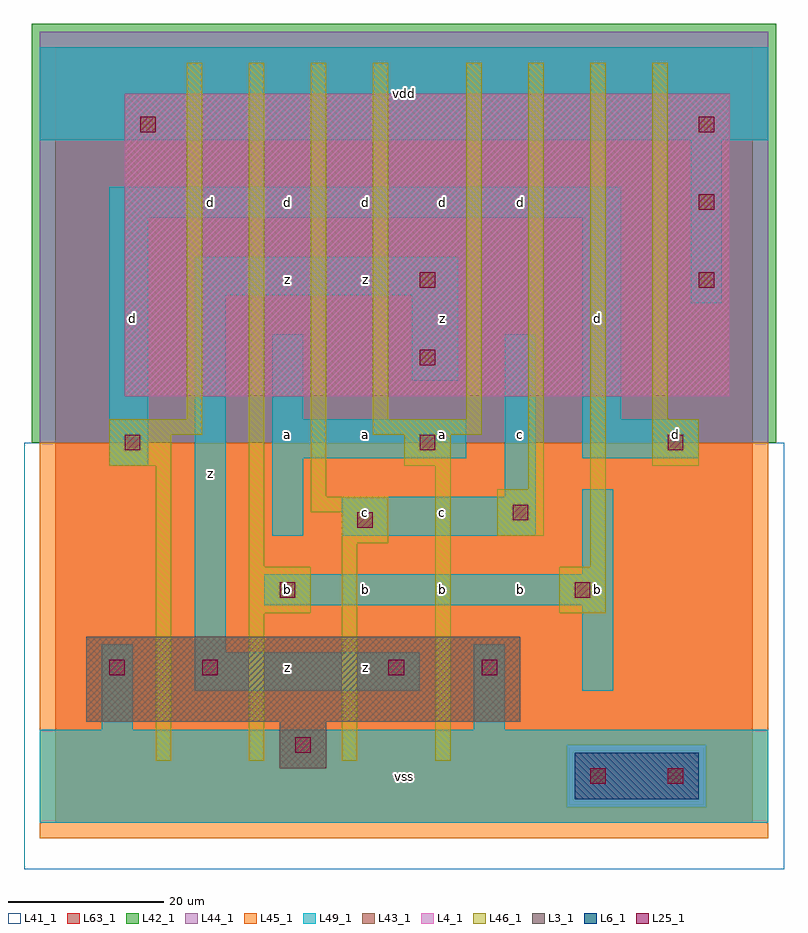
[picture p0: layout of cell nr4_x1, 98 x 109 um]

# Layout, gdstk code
import gdstk
lib = gdstk.Library(unit=1e-6, precision=1e-09)
def R(c, l, rs):  # rectangles x0, y0, x1, y1
    for r in rs: c.add(gdstk.rectangle(r[:2], r[2:], *l))
def A(c, l, x, y, w, h, nx, ny, dx, dy):  # array of equal rectangles
    R(c, l, [(x+i*dx, y+j*dy, x+i*dx+w, y+j*dy+h) for i in range(nx) for j in range(ny)])
L3_1 = (3, 1)
L4_1 = (4, 1)
L6_1 = (6, 1)
L25_1 = (25, 1)
L41_1 = (41, 1)
L42_1 = (42, 1)
L43_1 = (43, 1)
L44_1 = (44, 1)
L45_1 = (45, 1)
L46_1 = (46, 1)
L49_1 = (49, 1)
L63_1 = (63, 1)

nr4_x1 = lib.new_cell('nr4_x1')
R(nr4_x1, L3_1, [(29,7,35,13), (4,13,60,24)])
R(nr4_x1, L4_1, [(9,55,87,94)])
R(nr4_x1, L6_1, [(67,3,83,9)])
A(nr4_x1, L25_1, 83, 69, 2, 2, 1, 3, 0, 10)
R(nr4_x1, L25_1, [(69,5,71,7), (79,5,81,7), (31,9,33,11), (7,19,9,21), (19,19,21,21), (43,19,45,21), (55,19,57,21), (29,29,31,31), (67,29,69,31), (39,38,41,40), (59,39,61,41), (9,48,11,50), (47,48,49,50), (79,48,81,50), (47,59,49,61), (47,69,49,71), (11,89,13,91)])
R(nr4_x1, L41_1, [(-4,-6,94,49), (-3,-3,93,49)])
R(nr4_x1, L42_1, [(-3,49,93,103)])
R(nr4_x1, L43_1, [(67,3,83,9), (29,7,35,13), (4,13,60,24), (9,55,87,94)])
R(nr4_x1, L44_1, [(66,2,84,10), (-2,49,92,102)])
R(nr4_x1, L45_1, [(-2,-2,92,2), (-2,2,66,10), (84,2,92,10), (-2,10,92,49)])
R(nr4_x1, L46_1, [(13,8,15,46), (25,8,27,27), (37,8,39,36), (49,8,51,46), (25,27,33,33), (65,27,71,33), (25,33,27,98), (69,33,71,98), (37,36,43,40), (57,37,63,43), (33,40,43,42), (33,42,35,98), (61,43,63,98), (7,46,15,50), (45,46,51,50), (77,46,83,52), (7,50,19,52), (41,50,55,52), (17,52,19,98), (41,52,43,98), (53,52,55,98), (77,52,79,98)])
R(nr4_x1, L49_1, [(-2,0,92,12), (6,12,10,23), (54,12,58,23), (18,17,47,22), (68,17,72,28), (18,22,22,68), (27,28,72,32), (68,32,72,43), (28,37,32,47), (37,37,62,42), (58,42,62,63), (7,46,12,78), (28,47,53,52), (68,47,83,52), (28,52,32,63), (68,52,73,78), (46,57,52,68), (82,67,86,88), (18,68,52,73), (7,78,73,82), (-2,88,92,100)])
R(nr4_x1, L63_1, [(0,0,90,100)])
nr4_x1.add(gdstk.Label('d', (10,65), layer=49, texttype=1))
nr4_x1.add(gdstk.Label('d', (10,65), layer=49, texttype=1))
nr4_x1.add(gdstk.Label('z', (30,20), layer=49, texttype=1))
nr4_x1.add(gdstk.Label('z', (30,20), layer=49, texttype=1))
nr4_x1.add(gdstk.Label('b', (30,30), layer=49, texttype=1))
nr4_x1.add(gdstk.Label('b', (30,30), layer=49, texttype=1))
nr4_x1.add(gdstk.Label('z', (20,45), layer=49, texttype=1))
nr4_x1.add(gdstk.Label('z', (20,45), layer=49, texttype=1))
nr4_x1.add(gdstk.Label('a', (30,50), layer=49, texttype=1))
nr4_x1.add(gdstk.Label('a', (30,50), layer=49, texttype=1))
nr4_x1.add(gdstk.Label('z', (30,70), layer=49, texttype=1))
nr4_x1.add(gdstk.Label('z', (30,70), layer=49, texttype=1))
nr4_x1.add(gdstk.Label('d', (30,80), layer=49, texttype=1))
nr4_x1.add(gdstk.Label('d', (30,80), layer=49, texttype=1))
nr4_x1.add(gdstk.Label('d', (20,80), layer=49, texttype=1))
nr4_x1.add(gdstk.Label('d', (20,80), layer=49, texttype=1))
nr4_x1.add(gdstk.Label('vss', (45,6), layer=49, texttype=1))
nr4_x1.add(gdstk.Label('vss', (45,6), layer=49, texttype=1))
nr4_x1.add(gdstk.Label('z', (40,20), layer=49, texttype=1))
nr4_x1.add(gdstk.Label('z', (40,20), layer=49, texttype=1))
nr4_x1.add(gdstk.Label('b', (50,30), layer=49, texttype=1))
nr4_x1.add(gdstk.Label('b', (40,30), layer=49, texttype=1))
nr4_x1.add(gdstk.Label('b', (40,30), layer=49, texttype=1))
nr4_x1.add(gdstk.Label('b', (50,30), layer=49, texttype=1))
nr4_x1.add(gdstk.Label('c', (50,40), layer=49, texttype=1))
nr4_x1.add(gdstk.Label('c', (40,40), layer=49, texttype=1))
nr4_x1.add(gdstk.Label('c', (40,40), layer=49, texttype=1))
nr4_x1.add(gdstk.Label('c', (50,40), layer=49, texttype=1))
nr4_x1.add(gdstk.Label('a', (50,50), layer=49, texttype=1))
nr4_x1.add(gdstk.Label('a', (40,50), layer=49, texttype=1))
nr4_x1.add(gdstk.Label('a', (50,50), layer=49, texttype=1))
nr4_x1.add(gdstk.Label('a', (40,50), layer=49, texttype=1))
nr4_x1.add(gdstk.Label('z', (50,65), layer=49, texttype=1))
nr4_x1.add(gdstk.Label('z', (40,70), layer=49, texttype=1))
nr4_x1.add(gdstk.Label('z', (40,70), layer=49, texttype=1))
nr4_x1.add(gdstk.Label('z', (50,65), layer=49, texttype=1))
nr4_x1.add(gdstk.Label('d', (50,80), layer=49, texttype=1))
nr4_x1.add(gdstk.Label('d', (40,80), layer=49, texttype=1))
nr4_x1.add(gdstk.Label('d', (40,80), layer=49, texttype=1))
nr4_x1.add(gdstk.Label('d', (50,80), layer=49, texttype=1))
nr4_x1.add(gdstk.Label('vdd', (45,94), layer=49, texttype=1))
nr4_x1.add(gdstk.Label('vdd', (45,94), layer=49, texttype=1))
nr4_x1.add(gdstk.Label('b', (70,30), layer=49, texttype=1))
nr4_x1.add(gdstk.Label('b', (60,30), layer=49, texttype=1))
nr4_x1.add(gdstk.Label('b', (70,30), layer=49, texttype=1))
nr4_x1.add(gdstk.Label('b', (60,30), layer=49, texttype=1))
nr4_x1.add(gdstk.Label('c', (60,50), layer=49, texttype=1))
nr4_x1.add(gdstk.Label('c', (60,50), layer=49, texttype=1))
nr4_x1.add(gdstk.Label('d', (70,65), layer=49, texttype=1))
nr4_x1.add(gdstk.Label('d', (70,65), layer=49, texttype=1))
nr4_x1.add(gdstk.Label('d', (60,80), layer=49, texttype=1))
nr4_x1.add(gdstk.Label('d', (60,80), layer=49, texttype=1))
nr4_x1.add(gdstk.Label('d', (80,50), layer=49, texttype=1))
nr4_x1.add(gdstk.Label('d', (80,50), layer=49, texttype=1))

lib.write_gds('nr4_x1.gds')
